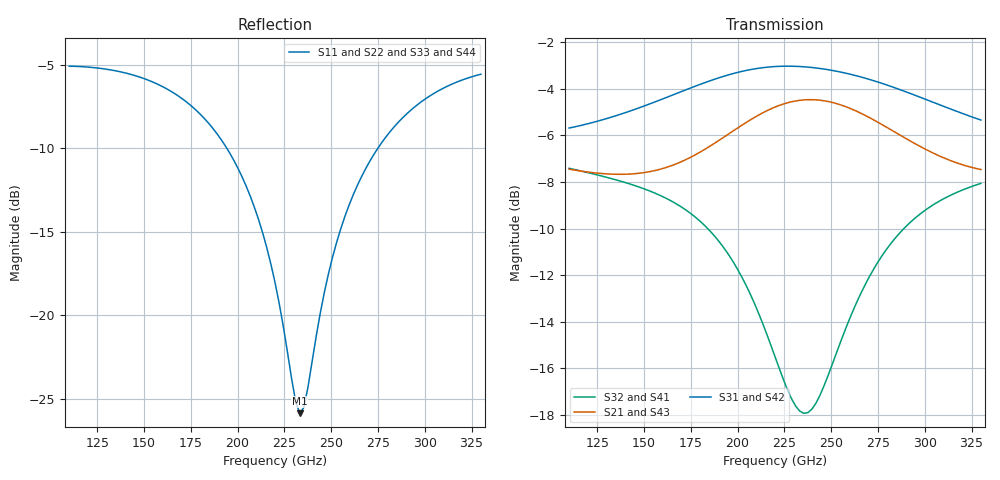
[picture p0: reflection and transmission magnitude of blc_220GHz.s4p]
#  GHZ S DB R 50
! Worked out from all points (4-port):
!   101 points, 110 GHz to 330 GHz, reference 50 ohm
!   strongest paths, dB at 110 GHz, 165 GHz, 220 GHz, 275 GHz, 330 GHz:
!     S31: -5.7, -4.3, -3.0, -3.7, -5.3
!     S42: -5.7, -4.3, -3.0, -3.7, -5.3
!     S21: -7.4, -7.3, -4.8, -5.4, -7.5
!     S43: -7.4, -7.3, -4.8, -5.4, -7.5
!     S32: -7.4, -8.8, -15.5, -11.4, -8.1
!     S41: -7.4, -8.8, -15.5, -11.4, -8.1
!   lowest |S11| = -25.9 dB at 233.2 GHz (marker M1), VSWR 1.11, Z = 55.3 - j0.704 ohm
!   |S11| at or under -10 dB: 194.3 GHz to 274.9 GHz (80.56 GHz wide, 34.3 % of centre)
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110  -5.06 157.2  -7.44 -49.8  -5.68 -79.1  -7.41 -61.7
     -7.44 -49.8  -5.06 157.3  -7.41 -61.7  -5.68 -79.1
     -5.68 -79.1  -7.41 -61.7  -5.06 157.2  -7.45 -49.8
     -7.41 -61.7  -5.68 -79.1  -7.45 -49.8  -5.06 157.2
156.2  -6.09 132.9  -7.50 -61.3  -4.55 -113.8  -8.49 -88.1
       -7.50 -61.3  -6.09 132.9  -8.49 -88.0  -4.55 -113.8
       -4.55 -113.8  -8.49 -88.0  -6.09 132.9  -7.51 -61.3
       -8.49 -88.1  -4.55 -113.8  -7.51 -61.3  -6.09 132.8
191.4  -9.49 105.0  -6.14 -71.7  -3.49 -145.5  -10.69 -111.3
       -6.14 -71.7  -9.49 105.0  -10.69 -111.2  -3.49 -145.5
       -3.49 -145.5  -10.69 -111.2  -9.49 104.9  -6.15 -71.7
       -10.69 -111.3  -3.49 -145.5  -6.15 -71.7  -9.48 104.8
213.4  -15.06 78.8  -5.03 -84.4  -3.09 -167.9  -14.08 -120.5
       -5.03 -84.4  -15.04 78.8  -14.07 -120.4  -3.09 -167.9
       -3.09 -167.9  -14.07 -120.4  -15.06 78.6  -5.04 -84.4
       -14.08 -120.5  -3.09 -167.9  -5.04 -84.4  -15.03 78.5
233.2  -25.88 -7.2  -4.49 -99.7  -3.04 171.4  -17.84 -102.2
       -4.49 -99.7  -25.83 -6.8  -17.83 -102.2  -3.04 171.4
       -3.04 171.4  -17.83 -102.2  -25.74 -7.5  -4.50 -99.6
       -17.84 -102.2  -3.04 171.4  -4.50 -99.6  -25.70 -7.0
268.4  -11.22 -117.7  -5.15 -126.7  -3.54 135.7  -12.37 -75.5
       -5.15 -126.7  -11.22 -117.5  -12.37 -75.5  -3.54 135.7
       -3.54 135.7  -12.37 -75.5  -11.20 -117.5  -5.15 -126.6
       -12.37 -75.5  -3.54 135.7  -5.15 -126.6  -11.21 -117.5
330  -5.55 -162.1  -7.46 -151.6  -5.34 82.2  -8.06 -114.1
     -7.46 -151.6  -5.55 -162.0  -8.06 -114.0  -5.33 82.2
     -5.34 82.2  -8.06 -114.0  -5.55 -162.0  -7.47 -151.5
     -8.06 -114.1  -5.33 82.2  -7.47 -151.5  -5.55 -162.1
